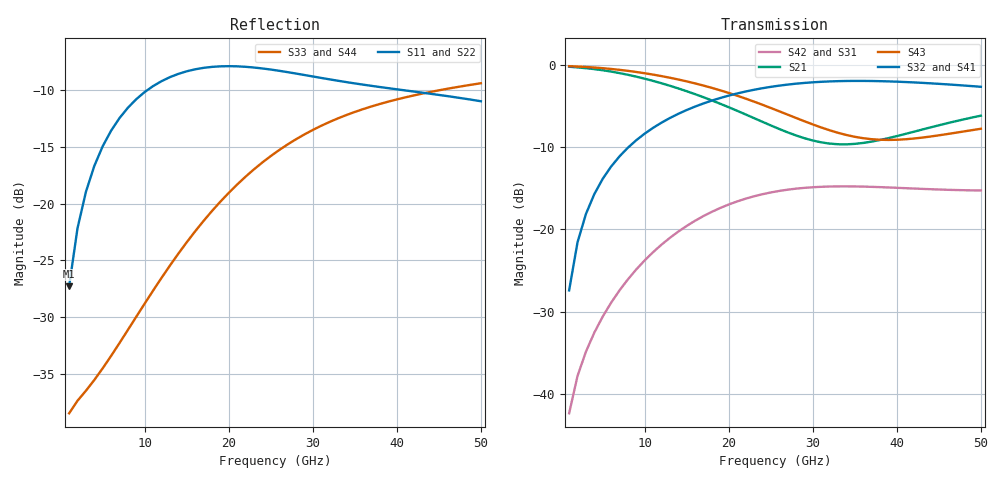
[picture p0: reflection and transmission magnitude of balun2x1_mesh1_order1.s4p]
! Created with skrf 2.2.0 (http://scikit-rf.org).
# GHz S DB R 50.0
! Port[1] = P1
! Port[2] = P2
! Port[3] = P3
! Port[4] = P4
!freq dBS11 angS11 dBS12 angS12 dBS13 angS13
! dBS14 angS14
! dBS21 angS21 dBS22 angS22 dBS23 angS23
! dBS24 angS24
! dBS31 angS31 dBS32 angS32 dBS33 angS33
! dBS34 angS34
! dBS41 angS41 dBS42 angS42 dBS43 angS43
! dBS44 angS44
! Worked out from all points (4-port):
!   50 points, 1 GHz to 50 GHz, reference 50 ohm
!   strongest paths, dB at 1 GHz, 13 GHz, 26 GHz, 38 GHz, 50 GHz:
!     S32: -27.4, -6.4, -2.5, -1.9, -2.6
!     S41: -27.4, -6.4, -2.5, -2.0, -2.6
!     S43: -0.1, -1.5, -5.6, -9.1, -7.7
!     S21: -0.2, -2.5, -7.8, -9.1, -6.1
!     S42: -42.4, -21.0, -15.3, -14.8, -15.3
!     S31: -42.4, -21.0, -15.3, -14.9, -15.3
!   lowest |S11| = -27.3 dB at 1 GHz (marker M1), VSWR 1.09, Z = 51.9 + j3.95 ohm
!   |S11| at or under -10 dB: start of sweep to 10.28 GHz; 40.93 GHz to end of sweep
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1  -27.30 61.6  -0.19 -5.3  -42.39 -117.8  -27.42 84.3
   -0.19 -5.3  -27.30 61.5  -27.42 84.3  -42.38 -117.8
   -42.39 -117.8  -27.42 84.3  -38.51 3.7  -0.12 -2.7
   -27.42 84.3  -42.38 -117.8  -0.12 -2.7  -38.52 3.7
4  -16.67 61.6  -0.48 -19.9  -32.56 -148.0  -15.69 73.9
   -0.48 -19.9  -16.67 61.4  -15.69 73.8  -32.55 -148.2
   -32.56 -148.0  -15.69 73.8  -35.57 -19.9  -0.28 -10.3
   -15.69 73.9  -32.55 -148.2  -0.28 -10.3  -35.58 -20.0
9  -10.77 40.7  -1.40 -43.8  -24.85 166.5  -9.12 56.0
   -1.40 -43.8  -10.78 40.4  -9.13 55.9  -24.85 166.4
   -24.85 166.5  -9.13 55.9  -29.98 -65.2  -0.83 -22.2
   -9.12 56.0  -24.85 166.4  -0.83 -22.2  -30.02 -65.4
17  -8.01 8.7  -3.90 -82.6  -18.37 108.3  -4.65 29.3
    -3.90 -82.6  -8.03 8.1  -4.65 29.2  -18.36 107.8
    -18.37 108.3  -4.65 29.2  -21.53 -130.1  -2.48 -39.1
    -4.65 29.3  -18.36 107.8  -2.48 -39.1  -21.52 -130.5
27  -8.39 -19.7  -8.17 -143.5  -15.20 53.9  -2.36 -1.7
    -8.17 -143.5  -8.46 -20.8  -2.36 -2.0  -15.15 52.8
    -15.20 53.9  -2.36 -2.0  -14.78 171.4  -6.01 -50.6
    -2.36 -1.7  -15.15 52.8  -6.01 -50.6  -14.71 170.9
39  -9.81 -39.0  -8.88 125.5  -14.95 11.4  -1.98 -34.1
    -8.88 125.5  -10.00 -40.4  -1.97 -34.5  -14.88 9.3
    -14.95 11.4  -1.97 -34.5  -10.99 123.7  -9.10 -35.3
    -1.98 -34.1  -14.88 9.3  -9.10 -35.3  -10.90 122.9
50  -10.96 -55.4  -6.14 76.0  -15.27 -10.7  -2.65 -57.5
    -6.14 76.0  -11.22 -56.8  -2.63 -58.1  -15.25 -13.8
    -15.27 -10.7  -2.63 -58.1  -9.37 95.3  -7.74 -26.2
    -2.65 -57.5  -15.25 -13.8  -7.74 -26.2  -9.27 94.3
